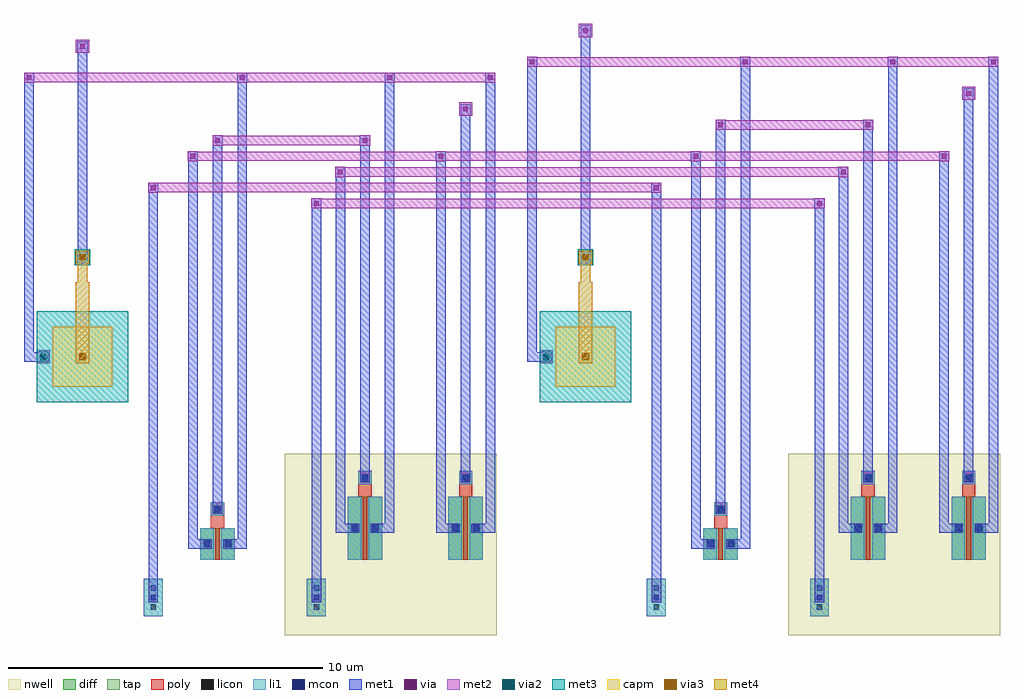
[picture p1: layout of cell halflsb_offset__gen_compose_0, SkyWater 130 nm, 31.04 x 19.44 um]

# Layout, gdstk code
import gdstk
lib = gdstk.Library(unit=1e-6, precision=1e-09)
def R(c, l, rs):  # rectangles x0, y0, x1, y1
    for r in rs: c.add(gdstk.rectangle(r[:2], r[2:], *l))
nwell = (64, 20)
diff = (65, 20)
tap = (65, 44)
poly = (66, 20)
licon = (66, 44)
li1 = (67, 20)
mcon = (67, 44)
met1 = (68, 20)
via = (68, 44)
met2 = (69, 20)
via2 = (69, 44)
met3 = (70, 20)
via3 = (70, 44)
met4 = (71, 20)
capm = (89, 44)

route__route_2 = lib.new_cell('route__ROUTE$2')
R(route__route_2, nwell, [(7.89,-2.4,14.63,3.37), (23.89,-2.4,30.63,3.37)])
R(route__route_2, tap, [(3.4,-1.8,4,-0.6), (8.59,-1.8,9.19,-0.6), (19.4,-1.8,20,-0.6), (24.59,-1.8,25.19,-0.6)])
R(route__route_2, licon, [(3.615,-1.585,3.785,-1.415), (8.805,-1.585,8.975,-1.415), (19.615,-1.585,19.785,-1.415), (24.805,-1.585,24.975,-1.415), (3.615,-0.985,3.785,-0.815), (8.805,-0.985,8.975,-0.815), (19.615,-0.985,19.785,-0.815), (24.805,-0.985,24.975,-0.815)])
R(route__route_2, li1, [(3.4,-1.8,4,-0.6), (8.59,-1.8,9.19,-0.6), (19.4,-1.8,20,-0.6), (24.59,-1.8,25.19,-0.6)])
R(route__route_2, mcon, [(3.615,-1.285,3.785,-1.115), (8.805,-1.285,8.975,-1.115), (19.615,-1.285,19.785,-1.115), (24.805,-1.285,24.975,-1.115), (5.325,0.415,5.495,0.585), (5.995,0.415,6.165,0.585), (21.325,0.415,21.495,0.585), (21.995,0.415,22.165,0.585), (10.015,0.915,10.185,1.085), (10.685,0.915,10.855,1.085), (13.215,0.915,13.385,1.085), (13.885,0.915,14.055,1.085), (26.015,0.915,26.185,1.085), (26.685,0.915,26.855,1.085), (29.215,0.915,29.385,1.085), (29.885,0.915,30.055,1.085), (5.66,1.525,5.83,1.695), (21.66,1.525,21.83,1.695), (10.35,2.525,10.52,2.695), (13.55,2.525,13.72,2.695), (26.35,2.525,26.52,2.695), (29.55,2.525,29.72,2.695)])
R(route__route_2, met1, [(3.55,-1.35,3.85,-1.05), (3.55,-1.35,3.85,11.98), (8.74,-1.35,9.04,-1.05), (8.74,-1.35,9.04,11.48), (19.55,-1.35,19.85,-1.05), (19.55,-1.35,19.85,11.98), (24.74,-1.35,25.04,-1.05), (24.74,-1.35,25.04,11.48), (4.81,0.35,5.56,0.65), (4.81,0.35,5.11,12.98), (5.93,0.35,6.68,0.65), (6.38,0.35,6.68,15.48), (20.81,0.35,21.56,0.65), (20.81,0.35,21.11,12.98), (21.93,0.35,22.68,0.65), (22.38,0.35,22.68,15.98), (9.5,0.85,10.25,1.15), (9.5,0.85,9.8,12.48), (10.62,0.85,11.37,1.15), (11.07,0.85,11.37,15.48), (12.7,0.85,13.45,1.15), (12.7,0.85,13,12.98), (13.82,0.85,14.57,1.15), (14.27,0.85,14.57,15.48), (25.5,0.85,26.25,1.15), (25.5,0.85,25.8,12.48), (26.62,0.85,27.37,1.15), (27.07,0.85,27.37,15.98), (28.7,0.85,29.45,1.15), (28.7,0.85,29,12.98), (29.82,0.85,30.57,1.15), (30.27,0.85,30.57,15.98), (5.595,1.46,5.895,13.48), (21.595,1.46,21.895,13.98), (10.285,2.46,10.585,13.48), (13.485,2.46,13.785,14.48), (26.285,2.46,26.585,13.98), (29.485,2.46,29.785,14.98), (0.04,6.29,0.36,6.61), (16.04,6.29,16.36,6.61), (-0.4,6.3,0.35,6.6), (-0.4,6.3,-0.1,15.48), (15.6,6.3,16.35,6.6), (15.6,6.3,15.9,15.98), (1.29,9.46,1.61,9.78), (17.29,9.46,17.61,9.78), (1.3,9.47,1.6,16.48), (17.3,9.47,17.6,16.98), (8.73,11.17,9.05,11.49), (24.73,11.17,25.05,11.49), (3.54,11.67,3.86,11.99), (19.54,11.67,19.86,11.99), (9.49,12.17,9.81,12.49), (25.49,12.17,25.81,12.49), (4.8,12.67,5.12,12.99), (12.69,12.67,13.01,12.99), (20.8,12.67,21.12,12.99), (28.69,12.67,29.01,12.99), (5.585,13.17,5.905,13.49), (10.275,13.17,10.595,13.49), (21.585,13.67,21.905,13.99), (26.275,13.67,26.595,13.99), (13.475,14.17,13.795,14.49), (29.475,14.67,29.795,14.99), (-0.41,15.17,-0.09,15.49), (6.37,15.17,6.69,15.49), (11.06,15.17,11.38,15.49), (14.26,15.17,14.58,15.49), (15.59,15.67,15.91,15.99), (22.37,15.67,22.69,15.99), (27.06,15.67,27.38,15.99), (30.26,15.67,30.58,15.99), (1.29,16.17,1.61,16.49), (17.29,16.67,17.61,16.99)])
R(route__route_2, via, [(0.125,6.375,0.275,6.525), (16.125,6.375,16.275,6.525), (1.375,9.545,1.525,9.695), (17.375,9.545,17.525,9.695), (8.815,11.255,8.965,11.405), (24.815,11.255,24.965,11.405), (3.625,11.755,3.775,11.905), (19.625,11.755,19.775,11.905), (9.575,12.255,9.725,12.405), (25.575,12.255,25.725,12.405), (4.885,12.755,5.035,12.905), (12.775,12.755,12.925,12.905), (20.885,12.755,21.035,12.905), (28.775,12.755,28.925,12.905), (5.67,13.255,5.82,13.405), (10.36,13.255,10.51,13.405), (21.67,13.755,21.82,13.905), (26.36,13.755,26.51,13.905), (13.56,14.255,13.71,14.405), (29.56,14.755,29.71,14.905), (-0.325,15.255,-0.175,15.405), (6.455,15.255,6.605,15.405), (11.145,15.255,11.295,15.405), (14.345,15.255,14.495,15.405), (15.675,15.755,15.825,15.905), (22.455,15.755,22.605,15.905), (27.145,15.755,27.295,15.905), (30.345,15.755,30.495,15.905), (1.375,16.255,1.525,16.405), (17.375,16.755,17.525,16.905)])
R(route__route_2, met2, [(-0.01,6.24,0.41,6.66), (15.99,6.24,16.41,6.66), (1.24,9.41,1.66,9.83), (17.24,9.41,17.66,9.83), (8.73,11.17,9.05,11.49), (24.73,11.17,25.05,11.49), (8.74,11.18,25.04,11.48), (3.54,11.67,3.86,11.99), (19.54,11.67,19.86,11.99), (3.55,11.68,19.85,11.98), (9.49,12.17,9.81,12.49), (25.49,12.17,25.81,12.49), (9.5,12.18,25.8,12.48), (4.8,12.67,5.12,12.99), (12.69,12.67,13.01,12.99), (20.8,12.67,21.12,12.99), (28.69,12.67,29.01,12.99), (4.81,12.68,29,12.98), (5.585,13.17,5.905,13.49), (10.275,13.17,10.595,13.49), (5.595,13.18,10.585,13.48), (21.585,13.67,21.905,13.99), (26.275,13.67,26.595,13.99), (21.595,13.68,26.585,13.98), (13.425,14.12,13.845,14.54), (13.475,14.17,13.795,14.49), (29.425,14.62,29.845,15.04), (29.475,14.67,29.795,14.99), (-0.41,15.17,-0.09,15.49), (6.37,15.17,6.69,15.49), (11.06,15.17,11.38,15.49), (14.26,15.17,14.58,15.49), (-0.4,15.18,14.57,15.48), (15.59,15.67,15.91,15.99), (22.37,15.67,22.69,15.99), (27.06,15.67,27.38,15.99), (30.26,15.67,30.58,15.99), (15.6,15.68,30.57,15.98), (1.24,16.12,1.66,16.54), (1.29,16.17,1.61,16.49), (17.24,16.62,17.66,17.04), (17.29,16.67,17.61,16.99)])
R(route__route_2, via2, [(0.1,6.35,0.3,6.55), (16.1,6.35,16.3,6.55), (1.35,9.52,1.55,9.72), (17.35,9.52,17.55,9.72)])
R(route__route_2, met3, [(1.2,9.37,1.7,9.87), (17.2,9.37,17.7,9.87)])
R(route__route_2, via3, [(1.35,9.52,1.55,9.72), (17.35,9.52,17.55,9.72)])
R(route__route_2, met4, [(1.3,8.46,1.6,9.77), (17.3,8.46,17.6,9.77), (1.24,9.41,1.66,9.83), (17.24,9.41,17.66,9.83)])
route__route_2.add(gdstk.Label('VDD', (8.89,11.33), layer=69, texttype=5))
route__route_2.add(gdstk.Label('GND', (3.7,11.83), layer=69, texttype=5))
route__route_2.add(gdstk.Label('VREFP', (9.65,12.33), layer=69, texttype=5))
route__route_2.add(gdstk.Label('VCM', (4.96,12.83), layer=69, texttype=5))
route__route_2.add(gdstk.Label('HALF_LSB_EN', (5.745,13.33), layer=69, texttype=5))
route__route_2.add(gdstk.Label('VGND', (21.745,13.83), layer=69, texttype=5))
route__route_2.add(gdstk.Label('HALF_LSB_ENN', (13.635,14.33), layer=69, texttype=5))
route__route_2.add(gdstk.Label('VPWR', (29.635,14.83), layer=69, texttype=5))
route__route_2.add(gdstk.Label('BOT_OFF_N', (-0.25,15.33), layer=69, texttype=5))
route__route_2.add(gdstk.Label('BOT_OFF_P', (15.75,15.83), layer=69, texttype=5))
route__route_2.add(gdstk.Label('TOP_N', (1.45,16.33), layer=69, texttype=5))
route__route_2.add(gdstk.Label('TOP_P', (17.45,16.83), layer=69, texttype=5))

cap_array_2 = lib.new_cell('cap_array$2')
R(cap_array_2, met3, [(0,0,2.9,2.9), (16,0,18.9,2.9)])
R(cap_array_2, via3, [(1.34,1.34,1.56,1.56), (17.34,1.34,17.56,1.56)])
R(cap_array_2, met4, [(1.24,1.24,1.66,1.66), (17.24,1.24,17.66,1.66), (1.24,1.66,1.66,3.4), (17.24,1.66,17.66,3.4), (1.24,3.4,1.66,3.82), (17.24,3.4,17.66,3.82)])
R(cap_array_2, capm, [(0.5,0.5,2.4,2.4), (16.5,0.5,18.4,2.4)])

choff__choff = lib.new_cell('choff__CHOFF')
choff__choff.add(gdstk.Reference(cap_array_2, (0,0)))

mos_array_5_1 = lib.new_cell('mos_array$5$1')
R(mos_array_5_1, nwell, [(-0.15,-0.15,1.24,2.97)])
R(mos_array_5_1, diff, [(0,0,1.09,2)])
R(mos_array_5_1, poly, [(0.47,0,0.62,2), (0.335,2,0.755,2.82)])
R(mos_array_5_1, licon, [(0.1,0.89,0.32,1.11), (0.77,0.89,0.99,1.11), (0.435,2.5,0.655,2.72)])
R(mos_array_5_1, li1, [(0,0,0.42,2), (0.67,0,1.09,2), (0.335,2.4,0.755,2.82)])

moff_p_cmp__moff_p_cmp = lib.new_cell('moff_p_cmp__MOFF_P_CMP')
moff_p_cmp__moff_p_cmp.add(gdstk.Reference(mos_array_5_1, (0,0)))

mos_array_4_1 = lib.new_cell('mos_array$4$1')
R(mos_array_4_1, nwell, [(-0.15,-0.15,1.24,2.97)])
R(mos_array_4_1, diff, [(0,0,1.09,2)])
R(mos_array_4_1, poly, [(0.47,0,0.62,2), (0.335,2,0.755,2.82)])
R(mos_array_4_1, licon, [(0.1,0.89,0.32,1.11), (0.77,0.89,0.99,1.11), (0.435,2.5,0.655,2.72)])
R(mos_array_4_1, li1, [(0,0,0.42,2), (0.67,0,1.09,2), (0.335,2.4,0.755,2.82)])

moff_p_refp__moff_p_refp = lib.new_cell('moff_p_refp__MOFF_P_REFP')
moff_p_refp__moff_p_refp.add(gdstk.Reference(mos_array_4_1, (0,0)))

mos_array_3_1 = lib.new_cell('mos_array$3$1')
R(mos_array_3_1, diff, [(0,0,1.09,1)])
R(mos_array_3_1, poly, [(0.47,0,0.62,1), (0.335,1,0.755,1.82)])
R(mos_array_3_1, licon, [(0.1,0.39,0.32,0.61), (0.77,0.39,0.99,0.61), (0.435,1.5,0.655,1.72)])
R(mos_array_3_1, li1, [(0,0,0.42,1), (0.67,0,1.09,1), (0.335,1.4,0.755,1.82)])

moff_p_cmn__moff_p_cmn = lib.new_cell('moff_p_cmn__MOFF_P_CMN')
moff_p_cmn__moff_p_cmn.add(gdstk.Reference(mos_array_3_1, (0,0)))

mos_array_2_1 = lib.new_cell('mos_array$2$1')
R(mos_array_2_1, nwell, [(-0.15,-0.15,1.24,2.97)])
R(mos_array_2_1, diff, [(0,0,1.09,2)])
R(mos_array_2_1, poly, [(0.47,0,0.62,2), (0.335,2,0.755,2.82)])
R(mos_array_2_1, licon, [(0.1,0.89,0.32,1.11), (0.77,0.89,0.99,1.11), (0.435,2.5,0.655,2.72)])
R(mos_array_2_1, li1, [(0,0,0.42,2), (0.67,0,1.09,2), (0.335,2.4,0.755,2.82)])

moff_n_cmp__moff_n_cmp = lib.new_cell('moff_n_cmp__MOFF_N_CMP')
moff_n_cmp__moff_n_cmp.add(gdstk.Reference(mos_array_2_1, (0,0)))

mos_array_1_1 = lib.new_cell('mos_array$1$1')
R(mos_array_1_1, nwell, [(-0.15,-0.15,1.24,2.97)])
R(mos_array_1_1, diff, [(0,0,1.09,2)])
R(mos_array_1_1, poly, [(0.47,0,0.62,2), (0.335,2,0.755,2.82)])
R(mos_array_1_1, licon, [(0.1,0.89,0.32,1.11), (0.77,0.89,0.99,1.11), (0.435,2.5,0.655,2.72)])
R(mos_array_1_1, li1, [(0,0,0.42,2), (0.67,0,1.09,2), (0.335,2.4,0.755,2.82)])

moff_n_refp__moff_n_refp = lib.new_cell('moff_n_refp__MOFF_N_REFP')
moff_n_refp__moff_n_refp.add(gdstk.Reference(mos_array_1_1, (0,0)))

mos_array_21 = lib.new_cell('mos_array$21')
R(mos_array_21, diff, [(0,0,1.09,1)])
R(mos_array_21, poly, [(0.47,0,0.62,1), (0.335,1,0.755,1.82)])
R(mos_array_21, licon, [(0.1,0.39,0.32,0.61), (0.77,0.39,0.99,0.61), (0.435,1.5,0.655,1.72)])
R(mos_array_21, li1, [(0,0,0.42,1), (0.67,0,1.09,1), (0.335,1.4,0.755,1.82)])

moff_n_cmn__moff_n_cmn = lib.new_cell('moff_n_cmn__MOFF_N_CMN')
moff_n_cmn__moff_n_cmn.add(gdstk.Reference(mos_array_21, (0,0)))

halflsb_offset__gen_comp = lib.new_cell('halflsb_offset__gen_compose_0')
halflsb_offset__gen_comp.add(gdstk.Reference(route__route_2, (0,0)))
halflsb_offset__gen_comp.add(gdstk.Reference(choff__choff, (0,5)))
halflsb_offset__gen_comp.add(gdstk.Reference(moff_p_cmp__moff_p_cmp, (29.09,0)))
halflsb_offset__gen_comp.add(gdstk.Reference(moff_p_refp__moff_p_refp, (25.89,0)))
halflsb_offset__gen_comp.add(gdstk.Reference(moff_p_cmn__moff_p_cmn, (21.2,0)))
halflsb_offset__gen_comp.add(gdstk.Reference(moff_n_cmp__moff_n_cmp, (13.09,0)))
halflsb_offset__gen_comp.add(gdstk.Reference(moff_n_refp__moff_n_refp, (9.89,0)))
halflsb_offset__gen_comp.add(gdstk.Reference(moff_n_cmn__moff_n_cmn, (5.2,0)))

lib.write_gds('halflsb_offset__gen_compose_0.gds')
